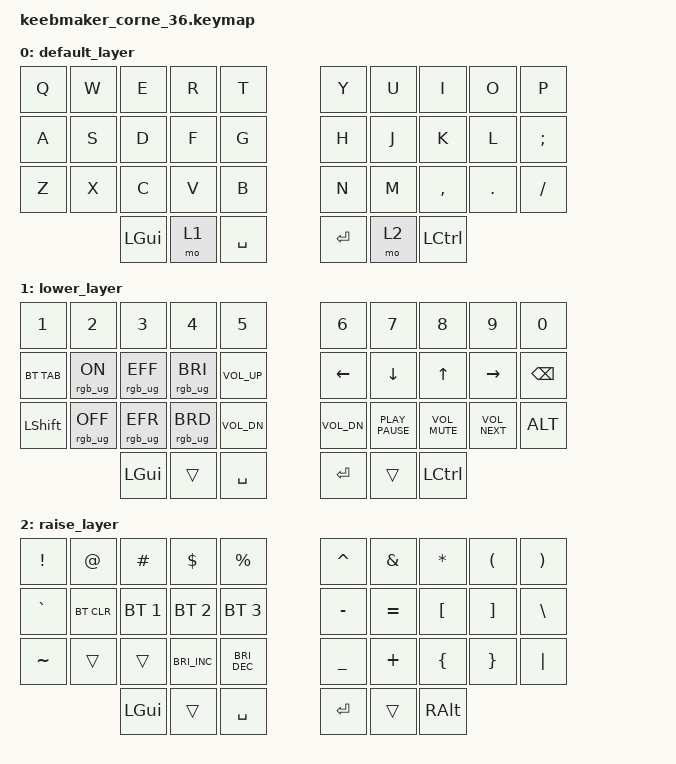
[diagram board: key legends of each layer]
#include <behaviors.dtsi>
#include <dt-bindings/zmk/keys.h>
#include <dt-bindings/zmk/bt.h>


&led_strip {
    chain-length = <18>;
};

/ {
        keymap {
                compatible = "zmk,keymap";


                default_layer {
// -----------------------------------------------------------------------------------------
// |  Q  |  W  |  E  |  R  |  T  |     |  Y  |  U   |  I  |  O  |  P  |
// |  A  |  S  |  D  |  F  |  G  |     |  H  |  J   |  K  |  L  |  ;  |
// |  Z  |  X  |  C  |  V  |  B  |     |  N  |  M   |  ,  |  .  |  /  |
//
//             | GUI | LWR | SPC |     | ENT | RSE  | LCTRL |
                bindings = <
    &kp Q &kp W &kp E &kp R &kp T     &kp Y &kp U  &kp I     &kp O   &kp P    
    &kp A &kp S &kp D &kp F &kp G     &kp H &kp J  &kp K     &kp L   &kp SEMI 
    &kp Z &kp X &kp C &kp V &kp B     &kp N &kp M  &kp COMMA &kp DOT &kp FSLH 
         &kp LGUI &mo 1 &kp SPACE     &kp RET &mo 2 &kp LCTRL 
                        >;
                };
                lower_layer {
// -----------------------------------------------------------------------------------------
// |  1  |  2  |  3  |  4  |        5     |     |  6  |  7  |  8  |  9  |  0   |
// | TAB | RGB_ON|RGB_EFF|RGB_BRI|K_VOL_UP|     | LFT | DWN |  UP | RGT | BSPC |
// |SHFT |RGB_OFF|RGB_EFR|RGB_BRD|K_VOL_DN|     |K_PLAY_PAUSE|K_MUTE|K_NEXT|K_PREV|ALT|
//
//                      | GUI |  P  | SPC |     | ENT |     | LCTRL |
                bindings = <
   &kp N1    &kp N2          &kp N3          &kp N4          &kp N5           &kp N6       &kp N7           &kp N8         &kp N9         &kp N0 
   &bt TAB   &rgb_ug RGB_ON  &rgb_ug RGB_EFF &rgb_ug RGB_BRI &kp K_VOL_UP     &kp LEFT     &kp DOWN         &kp UP         &kp RIGHT      &kp BSPC 
   &kp LSHFT &rgb_ug RGB_OFF &rgb_ug RGB_EFR &rgb_ug RGB_BRD &kp K_VOL_DN     &kp K_VOL_DN &kp K_PLAY_PAUSE &kp K_VOL_MUTE &kp K_VOL_NEXT &kp ALT 
                                                &kp LGUI &trans &kp SPACE     &kp RET &trans &kp LCTRL
                        >;
                };
                raise_layer {
// -----------------------------------------------------------------------------------------
// |  !  |  @  |  \# |  $  |  %  |     |  ^  |  &  |  *  |  (  |  )  |
// |  `  |BTCLR| BT1 | BT2 | BT3 |     |  -  |  =  |  [  |  ]  |  \  |
// |  ~  | | |C_BRI_INC|C_BRI_DEC|     |  _  |  +  |  {  |  }  | "|" |
//
//             | GUI |     | SPC |     | ENT |  p  | LCTRL |

                        bindings = <
    &kp EXCL  &kp AT     &kp HASH     &kp DLLR      &kp PRCNT         &kp CARET &kp AMPS  &kp ASTRK &kp LPAR &kp RPAR
    &kp GRAVE &bt BT_CLR &bt BT_SEL 1 &bt BT_SEL 2  &bt BT_SEL 3      &kp MINUS &kp EQUAL &kp LBKT  &kp RBKT &kp BSLH
    &kp TILDE &trans     &trans       &kp C_BRI_INC &kp C_BRI_DEC     &kp UNDER &kp PLUS  &kp LBRC  &kp RBRC &kp PIPE
                                        &kp LGUI &trans &kp SPACE     &kp RET &trans &kp RALT
                        >;
                };
        };
};
